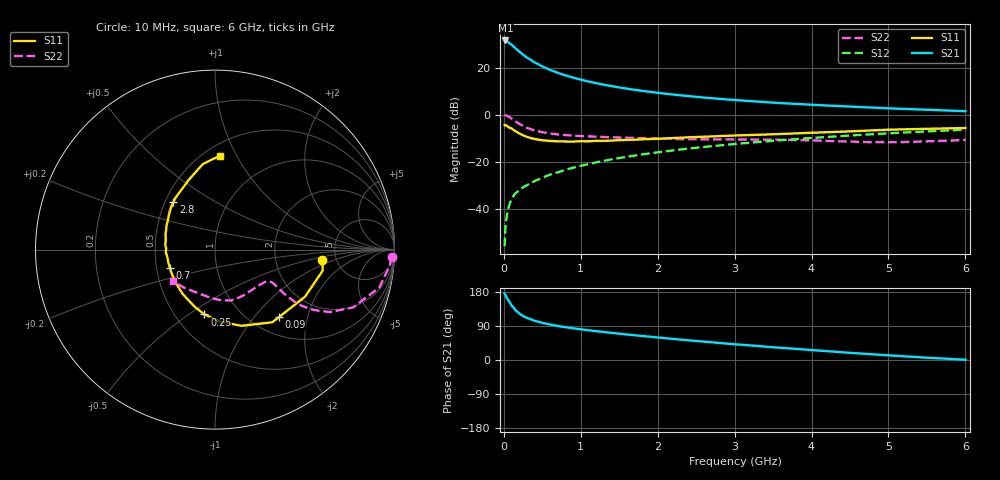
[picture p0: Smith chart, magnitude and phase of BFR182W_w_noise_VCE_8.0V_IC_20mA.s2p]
! Infineon Technologies  Discrete & RF Semiconductors
! BFR182W
! VCE =  8.0 V,  IC =  20 mA
! Common Emitter S-Parameters:  Jan 2017
# GHz  S  MA  R  50
!  f  S11  S21  S12  S22
! GHz  MAG  ANG  MAG  ANG  MAG  ANG  MAG  ANG
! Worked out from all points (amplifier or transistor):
!   77 points, 10 MHz to 6 GHz, reference 50 ohm
!   highest |S21| = 31.6 dB at 20 MHz (marker M1)
!   |S21| within 3 dB of that: start of sweep to 141.3 MHz
!   unconditionally stable (mu >= 1): 844.7 MHz to 2.362 GHz
!   at 130 MHz: K = 0.42, MSG = 31.6 dB, |S12| = -34.3 dB
!   at 2.2 GHz: K = 1.01, MAG = 11.3 dB, |S12| = -15.2 dB
!   at 6 GHz: K = 0.87, MSG = 3.9 dB, |S12| = -6.4 dB
!   lowest NFmin = 1.41 dB at 450 MHz
!   S11 on the Smith chart (normalised r, x): 10 MHz: 3.88, -0.69; 90 MHz: 1.31, -1.35; 250 MHz: 0.69, -0.58; 700 MHz: 0.59, -0.13; 2.8 GHz: 0.55, +0.33; 6 GHz: 0.60, +0.86
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0.01  0.6008 -5.4  38 175.0  0.0016 94.1  0.986 -2.4
0.02  0.6112 -11.1  38.13 171.4  0.0038 92.1  0.9775 -5.3
0.05  0.5663 -27.6  35.78 160.1  0.009 76.3  0.9394 -13.0
0.09  0.518 -46.6  31.82 147.6  0.0146 72.0  0.8534 -20.6
0.1  0.5157 -51.7  31.1 144.0  0.016 71.4  0.8345 -22.7
0.15  0.4498 -70.8  26.25 131.8  0.0213 66.1  0.7278 -28.6
0.2  0.402 -86.1  22.18 122.8  0.0247 67.3  0.6427 -31.5
0.25  0.3659 -99.2  19.03 115.9  0.0287 64.1  0.5778 -32.9
0.3  0.3376 -109.7  16.5 111.0  0.0317 64.7  0.5276 -33.2
0.4  0.3058 -126.2  13.02 103.4  0.0388 66.2  0.4639 -32.7
0.5  0.2872 -138.8  10.66 98.0  0.0458 67.6  0.4254 -31.7
0.6  0.2772 -149.1  9.035 93.6  0.0532 68.3  0.3995 -30.9
0.7  0.2716 -157.5  7.819 89.9  0.0596 69.9  0.3824 -30.3
0.9  0.2684 -170.6  6.16 83.7  0.0747 70.5  0.3612 -30.0
1.1  0.2722 178.6  5.107 78.6  0.0894 70.8  0.3469 -30.6
1.5  0.2882 163.2  3.812 69.5  0.1199 69.8  0.3277 -34.2
2.1  0.3136 146.2  2.811 57.6  0.1667 67.0  0.3085 -43.7
2.8  0.3514 131.4  2.182 45.0  0.2222 62.2  0.3003 -58.4
3.1  0.3665 125.5  2.007 40.1  0.2466 59.9  0.2979 -64.5
4.1  0.4198 109.4  1.605 24.8  0.3288 51.6  0.2814 -85.1
5.1  0.4852 96.8  1.352 11.0  0.4106 42.2  0.261 -115.3
6  0.5232 86.7  1.193 0.6  0.4812 33.2  0.2922 -142.7
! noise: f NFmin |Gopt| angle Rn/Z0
0.45  1.41  0.11  -176  0.15
0.9  1.49  0.11  -171  0.15
1.9  2  0.28  -142  0.16
2.4  2.26  0.29  -128  0.26
